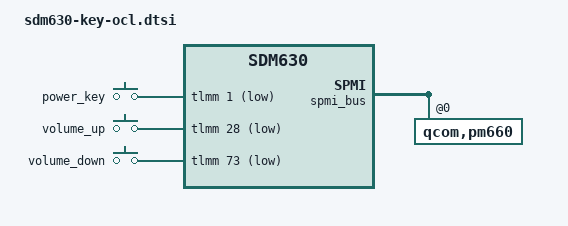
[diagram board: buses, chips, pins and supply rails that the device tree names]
&soc {
	/delete-node/ gpio_keys;

	gpio_keys {
		compatible = "gpio-keys";
		input-name = "gpio-keys";
		status = "okay";
		pinctrl-names = "tlmm_gpio_key_active","tlmm_gpio_key_suspend";
		pinctrl-0 = <&gpio_key_active>;
		pinctrl-1 = <&gpio_key_suspend>;

		power_key {
			label = "power_key";
			gpios = <&tlmm 1 0x1>;
			linux,input-type = <1>;
			linux,code = <116>;
			gpio-key,wakeup;
			debounce-interval = <20>;
		};

		vol_up {
			label = "volume_up";
			gpios = <&tlmm 28 0x1>;
			linux,input-type = <1>;
			linux,code = <115>;
			gpio-key,wakeup;
			debounce-interval = <20>;
		};

		vol_down {
			label = "volume_down";
			gpios = <&tlmm 73 0x1>;
			linux,input-type = <1>;
			linux,code = <114>;
			gpio-key,wakeup;
			debounce-interval = <20>;
		};
	};

	keyled {
		compatible  = "keyled";
		key_down_delay  = <3000>;
		keys_down   = <116 114 0>;
	};
};

&spmi_bus {
	qcom,pm660@0 {
		qcom,power-on@800 {
			/delete-property/ qcom,report-key;
		};
	};
};

&tlmm {
	/delete-node/ tlmm_gpio_key;

	tlmm_gpio_key {
		gpio_key_active: gpio_key_active {
			mux {
				pins = "gpio1", "gpio28", "gpio73";
				function = "gpio";
			};
			config {
				pins = "gpio1", "gpio28", "gpio73";
				drive-strength = <2>;
				bias-disable;
			};
		};
		gpio_key_suspend: gpio_key_suspend {
			mux {
				pins = "gpio1", "gpio28", "gpio73";
				function = "gpio";
			};
			config {
				pins = "gpio1", "gpio28", "gpio73";
				drive-strength = <2>;
				bias-disable;
			};
		};
	};
};
